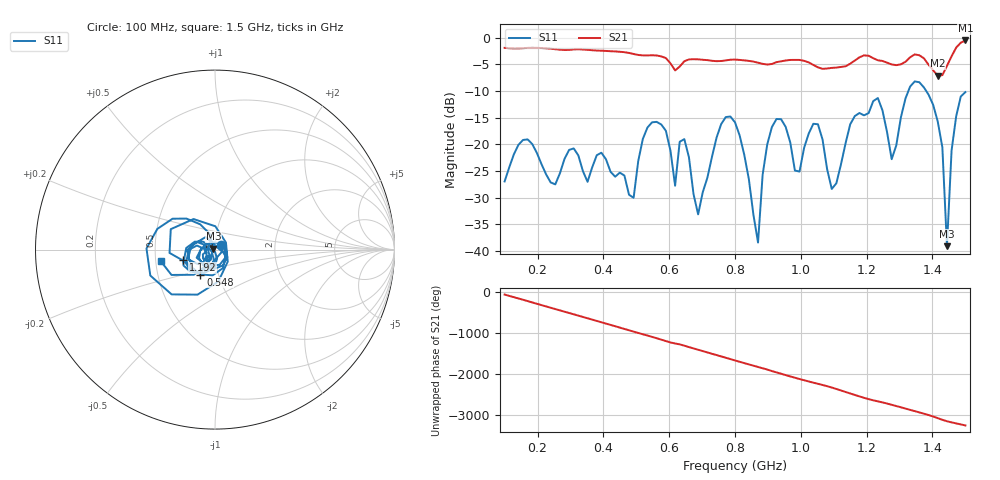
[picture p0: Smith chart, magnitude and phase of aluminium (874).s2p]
! NanoVNA-App
! Date: 2025-09-25 15:02:05
! Start: 100MHz Stop: 1,5GHz Points: 101
! S-Parameter data: F S11 S21 S12 S22
# Hz S RI R 50
!  Frequency  S11_Real  S11_Imag  S21_Real  S21_Imag  S12_Real  S12_Imag  S22_Real  S22_Imag
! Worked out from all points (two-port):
!   101 points, 100 MHz to 1.5 GHz, reference 50 ohm
!   highest |S21| = -0.53 dB at 1.5 GHz (marker M1); lowest = -7.1 dB at 1.416 GHz (marker M2)
!   |S21| within 3 dB of the highest: start of sweep to 576.7 MHz; 1.458 GHz to end of sweep (the widest 2 of 4)
!   lowest |S11| = -39.1 dB at 1.444 GHz (marker M3), VSWR 1.02, Z = 49.1 + j0.583 ohm
!   |S11| at or under -10 dB: start of sweep to 1.327 GHz; 1.381 GHz to end of sweep
!   S12 and S22 are empty: the file has one direction only
!   S11 on the Smith chart (normalised r, x): 100 MHz: 1.07, +0.06; 548 MHz: 0.82, -0.23; 1.192 GHz: 0.69, -0.08; 1.5 GHz: 0.53, -0.08
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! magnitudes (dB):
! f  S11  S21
! 100 MHz  -27.0  -1.9
! 338 MHz  -25.0  -2.2
! 492 MHz  -30.0  -3.1
! 548 MHz  -15.9  -3.3
! 576 MHz  -16.3  -3.5
! 618 MHz  -27.8  -6.1
! 646 MHz  -19.0  -4.4
! 688 MHz  -33.1  -4.1
! 800 MHz  -15.9  -4.1
! 870 MHz  -38.4  -4.7
! 912 MHz  -16.8  -4.9
! 996 MHz  -25.1  -4.2
! 1.038 GHz  -16.2  -5.1
! 1.094 GHz  -28.4  -5.7
! 1.192 GHz  -14.6  -3.3
! 1.234 GHz  -11.3  -4.2
! 1.276 GHz  -22.8  -5.0
! 1.346 GHz  -8.2  -3.1
! 1.416 GHz  -15.7  -7.1
! 1.444 GHz  -39.1  -5.3
! 1.458 GHz  -21.2  -3.5
! 1.5 GHz  -10.2  -0.5
